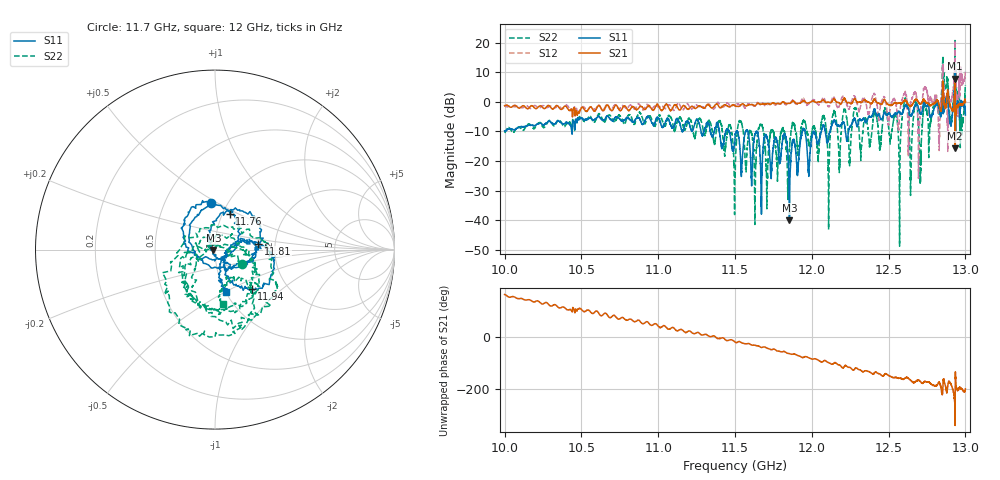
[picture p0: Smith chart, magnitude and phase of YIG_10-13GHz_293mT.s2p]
#  HZ  S  RI  R  50.0
! Rohde & Schwarz ZVL13 2Ports - Version 3.31 - 1303.6509k13 SN: 101088
! Date: 2023-03-06 15:51:46
! Data & Calibration Information:
! Trc4:S11(TOSM) Trc2:S21(TOSM) Trc3:S12(TOSM) Trc5:S22(TOSM)
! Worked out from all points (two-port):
!   4000 points, 10 GHz to 13 GHz, reference 50 ohm
!   highest |S21| = 7.78 dB at 12.93 GHz (marker M1); lowest = -15.8 dB at 12.93 GHz (marker M2)
!   |S21| within 3 dB of the highest: 12.85063 GHz to 12.85512 GHz (4.499 MHz wide, 0.035 % of centre); 12.93136 GHz to 12.9324 GHz (1.044 MHz wide, 0.00807 % of centre)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
!   lowest |S11| = -40.0 dB at 11.85 GHz (marker M3), VSWR 1.02, Z = 49.1 - j0.457 ohm
!   |S11| at or under -10 dB: 11.58323 GHz to 11.63874 GHz (55.5 MHz wide, 0.478 % of centre); 11.65 GHz to 11.94 GHz (292.8 MHz wide, 2.48 % of centre); 11.95551 GHz to 12.01167 GHz (56.16 MHz wide, 0.469 % of centre)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
!   |S22| runs from -48.8 to 20.7 dB; largest |S21 - S12| = 9.2
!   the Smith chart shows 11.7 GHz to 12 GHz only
!   S11 on the Smith chart (normalised r, x): 11.7 GHz: 0.84, +0.47; 11.76 GHz: 1.08, +0.45; 11.81 GHz: 1.63, +0.12; 11.94 GHz: 1.34, -0.64; 12 GHz: 1.00, -0.50
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1e10  0.3135 0.0763  -0.8334 0.2041  -0.8136 0.2452  0.2354 0.1833
1.050038e10  0.4037 -0.3353  -0.247 0.7615  -0.3099 0.6968  0.5434 -0.1101
1.1e10  -0.15 -0.512  0.6351 0.603  0.5379 0.6099  -0.0053 -0.5502
1.150038e10  -0.2136 0.1698  0.8052 -0.2765  0.8184 -0.2714  -0.0454 0.0273
1.169617e10  -0.0212 0.2621  0.714 -0.5635  0.6663 -0.5359  0.1505 -0.0805
1.175619e10  0.0822 0.1996  0.6452 -0.6831  0.624 -0.6626  0.2071 -0.1198
1.18132e10  0.2407 0.0334  0.5649 -0.8226  0.6104 -0.7954  0.1376 -0.3305
1.185446e10  -0.0088 -0.00465  0.4184 -0.8405  0.4265 -0.8358  -0.1155 -0.1103
1.193623e10  0.2044 -0.2167  0.2031 -0.983  0.1867 -1.1  -0.2543 -0.3469
1.2e10  0.0605 -0.2349  0.0901 -1.004  0.0316 -1.028  0.0428 -0.3038
1.250038e10  -0.5071 -0.3954  -0.7696 -0.4655  -0.3805 -0.1748  0.1584 -0.3305
1.28057e10  -0.7591 0.4263  -0.9511 0.1253  -1.176 -0.4131  -0.1404 -1.054
1.283796e10  -0.5056 0.256  -0.7028 0.1193  -0.4057 0.6409  0.0916 0.8383
1.285971e10  -0.632 0.2713  -1.142 -0.3887  -0.9033 -1.488  -1.545 -2.62
1.286947e10  -0.7753 0.5791  -0.7581 0.1008  -0.8219 -0.6667  -0.6526 -1.646
1.288672e10  -0.9289 0.0466  -1.32 0.0706  -0.0259 0.3743  1.686 -0.5454
1.291823e10  -0.274 0.6673  -0.6776 0.283  -1.222 0.8483  -0.0301 0.7286
1.293173e10  -1.889 2.148  -0.9038 2.276  -6.117 7.887  1.19 8.868
1.293398e10  0.1835 1.082  -0.1452 0.0733  2.545 1.374  2.98 -1.845
1.294749e10  -0.4565 0.8167  -0.7422 0.2993  -0.0748 -1.073  -0.3702 -1.33
1.297374e10  -0.5942 0.8021  -0.8764 0.3245  -3.288 0.8822  -0.6003 -0.0834
1.3e10  -0.3467 0.4866  -0.9376 0.3571  -3.011 -1.134  -1.856 0.2762
